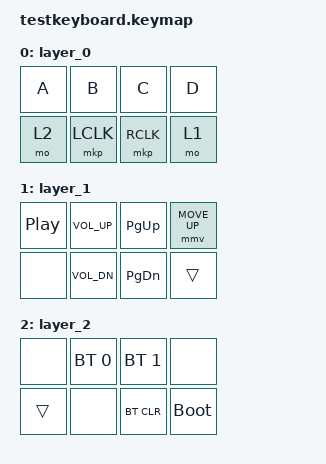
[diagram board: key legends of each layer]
#include <behaviors.dtsi>
#include <dt-bindings/zmk/keys.h>
#include <dt-bindings/zmk/bt.h>
#include <dt-bindings/zmk/mouse.h>

/ {
    keymap {
        compatible = "zmk,keymap";

        layer_0 {
            bindings = <
                &kp A       &kp B       &kp C       &kp D
                &mo 2       &mkp LCLK   &mkp RCLK   &mo 1
                                     
            >;
        };

        layer_1 {
            bindings = <
                &kp C_PLAY_PAUSE    &kp C_VOL_UP        &kp PG_UP      &mmv MOVE_UP
                &none               &kp C_VOL_DN        &kp PG_DN       &trans 
                                 
            >;
        };

        layer_2 {
            bindings = <
                &none       &bt BT_SEL 0    &bt BT_SEL 1    &none  
                &trans      &none           &bt BT_CLR      &bootloader
                                              
            >;
        };

    };
};
